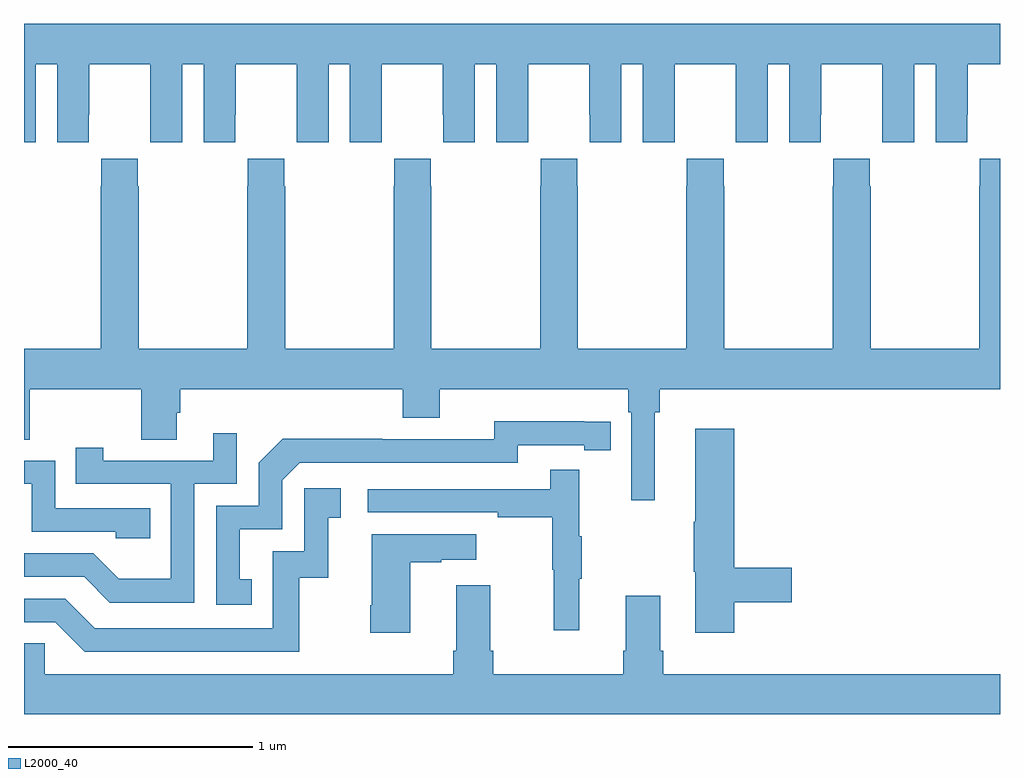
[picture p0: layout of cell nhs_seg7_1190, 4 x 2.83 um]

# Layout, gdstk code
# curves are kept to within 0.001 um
import gdstk
lib = gdstk.Library(unit=1e-6, precision=1e-09)
def P(c, l, *ps):  # polygons
    for p in ps: c.add(gdstk.Polygon(p, *l))
L2000_40 = (2000, 40)

nhs_seg7_1190 = lib.new_cell('nhs_seg7_1190')
P(nhs_seg7_1190, L2000_40, [(193,1066.896),(193.048,1066.896),(193.048,1067.216),(193.136,1067.216),(193.136,1066.896),(193.266,1066.896),(193.266,1067.008),(193.267,1067.008),(193.267,1067.216),(193.517,1067.216),(193.517,1067.008),(193.518,1067.008),(193.518,1066.896),(193.648,1066.896),(193.648,1067.216),(193.736,1067.216),(193.736,1066.896),(193.866,1066.896),(193.866,1067.008),(193.867,1067.008),(193.867,1067.216),(194.117,1067.216),(194.117,1067.008),(194.118,1067.008),(194.118,1066.896),(194.248,1066.896),(194.248,1067.216),(194.336,1067.216),(194.336,1066.896),(194.466,1066.896),(194.466,1067.008),(194.467,1067.008),(194.467,1067.216),(194.717,1067.216),(194.717,1067.008),(194.718,1067.008),(194.718,1066.896),(194.848,1066.896),(194.848,1067.216),(194.936,1067.216),(194.936,1066.896),(195.066,1066.896),(195.066,1067.008),(195.067,1067.008),(195.067,1067.216),(195.317,1067.216),(195.317,1067.008),(195.318,1067.008),(195.318,1066.896),(195.448,1066.896),(195.448,1067.216),(195.536,1067.216),(195.536,1066.896),(195.666,1066.896),(195.666,1067.008),(195.667,1067.008),(195.667,1067.216),(195.917,1067.216),(195.917,1067.008),(195.918,1067.008),(195.918,1066.896),(196.048,1066.896),(196.048,1067.216),(196.136,1067.216),(196.136,1066.896),(196.266,1066.896),(196.266,1067.008),(196.267,1067.008),(196.267,1067.216),(196.517,1067.216),(196.517,1067.008),(196.518,1067.008),(196.518,1066.896),(196.648,1066.896),(196.648,1067.216),(196.736,1067.216),(196.736,1066.896),(196.866,1066.896),(196.866,1067.008),(196.867,1067.008),(196.867,1067.216),(197,1067.216),(197,1067.38),(193,1067.38)],
  [(197,1066.828),(196.917,1066.828),(196.917,1066.715),(196.915,1066.715),(196.915,1066.048),(196.47,1066.048),(196.47,1066.715),(196.467,1066.715),(196.467,1066.828),(196.317,1066.828),(196.317,1066.715),(196.315,1066.715),(196.315,1066.048),(195.87,1066.048),(195.87,1066.715),(195.867,1066.715),(195.867,1066.828),(195.717,1066.828),(195.717,1066.715),(195.715,1066.715),(195.715,1066.048),(195.27,1066.048),(195.27,1066.715),(195.267,1066.715),(195.267,1066.828),(195.117,1066.828),(195.117,1066.715),(195.115,1066.715),(195.115,1066.048),(194.67,1066.048),(194.67,1066.715),(194.667,1066.715),(194.667,1066.828),(194.517,1066.828),(194.517,1066.715),(194.515,1066.715),(194.515,1066.048),(194.07,1066.048),(194.07,1066.715),(194.067,1066.715),(194.067,1066.828),(193.917,1066.828),(193.917,1066.715),(193.915,1066.715),(193.915,1066.048),(193.47,1066.048),(193.47,1066.715),(193.467,1066.715),(193.467,1066.828),(193.317,1066.828),(193.317,1066.715),(193.315,1066.715),(193.315,1066.048),(193,1066.048),(193,1065.676),(193.023,1065.676),(193.023,1065.884),(193.48,1065.884),(193.48,1065.676),(193.627,1065.676),(193.627,1065.786),(193.64,1065.786),(193.64,1065.884),(194.552,1065.884),(194.552,1065.767),(194.704,1065.767),(194.704,1065.884),(195.476,1065.884),(195.476,1065.788),(195.489,1065.788),(195.489,1065.429),(195.586,1065.429),(195.586,1065.788),(195.605,1065.788),(195.605,1065.884),(197,1065.884)],
  [(193.934,1065.105),(193.885,1065.105),(193.885,1065.309),(194.058,1065.309),(194.058,1065.51),(194.13,1065.582),(195.024,1065.582),(195.024,1065.654),(195.296,1065.654),(195.296,1065.634),(195.404,1065.634),(195.404,1065.75),(194.928,1065.751),(194.928,1065.678),(194.468,1065.678),(194.468,1065.68),(194.06,1065.68),(193.962,1065.582),(193.962,1065.405),(193.788,1065.405),(193.788,1065),(193.934,1065)],
  [(195.911,1065.01),(196.147,1065.01),(196.147,1065.152),(195.911,1065.152),(195.911,1065.721),(195.752,1065.721),(195.752,1065.341),(195.745,1065.341),(195.745,1065.135),(195.752,1065.135),(195.752,1064.886),(195.911,1064.886)],
  [(193.698,1065.495),(193.872,1065.495),(193.872,1065.703),(193.775,1065.703),(193.775,1065.591),(193.324,1065.591),(193.324,1065.643),(193.213,1065.643),(193.213,1065.495),(193.602,1065.495),(193.602,1065.106),(193.388,1065.106),(193.284,1065.21),(193,1065.21),(193,1065.114),(193.247,1065.114),(193.352,1065.009),(193.698,1065.009)],
  [(193.517,1065.396),(193.128,1065.396),(193.128,1065.591),(193,1065.591),(193,1065.495),(193.032,1065.495),(193.032,1065.3),(193.377,1065.3),(193.377,1065.273),(193.517,1065.273)],
  [(195.275,1065.107),(195.286,1065.107),(195.286,1065.281),(195.275,1065.281),(195.275,1065.553),(195.157,1065.553),(195.157,1065.474),(194.409,1065.474),(194.409,1065.378),(194.941,1065.378),(194.941,1065.358),(195.165,1065.358),(195.165,1065.144),(195.172,1065.144),(195.172,1064.895),(195.275,1064.895)],
  [(194.128,1065.111),(194.246,1065.111),(194.246,1065.357),(194.299,1065.357),(194.299,1065.478),(194.148,1065.478),(194.148,1065.219),(194.019,1065.219),(194.019,1064.904),(193.29,1064.904),(193.17,1065.024),(193,1065.024),(193,1064.928),(193.128,1064.928),(193.248,1064.808),(194.128,1064.808)],
  [(194.584,1065.175),(194.711,1065.175),(194.711,1065.185),(194.854,1065.185),(194.854,1065.289),(194.426,1065.289),(194.426,1064.998),(194.419,1064.998),(194.419,1064.886),(194.584,1064.886)],
  [(197,1064.716),(195.62,1064.716),(195.62,1064.812),(195.607,1064.812),(195.607,1065.037),(195.467,1065.037),(195.467,1064.812),(195.455,1064.812),(195.455,1064.716),(194.924,1064.716),(194.924,1064.812),(194.911,1064.812),(194.911,1065.079),(194.771,1065.079),(194.771,1064.812),(194.759,1064.812),(194.759,1064.716),(193.086,1064.716),(193.086,1064.843),(193,1064.843),(193,1064.552),(197,1064.552)])

lib.write_gds('nhs_seg7_1190.gds')
